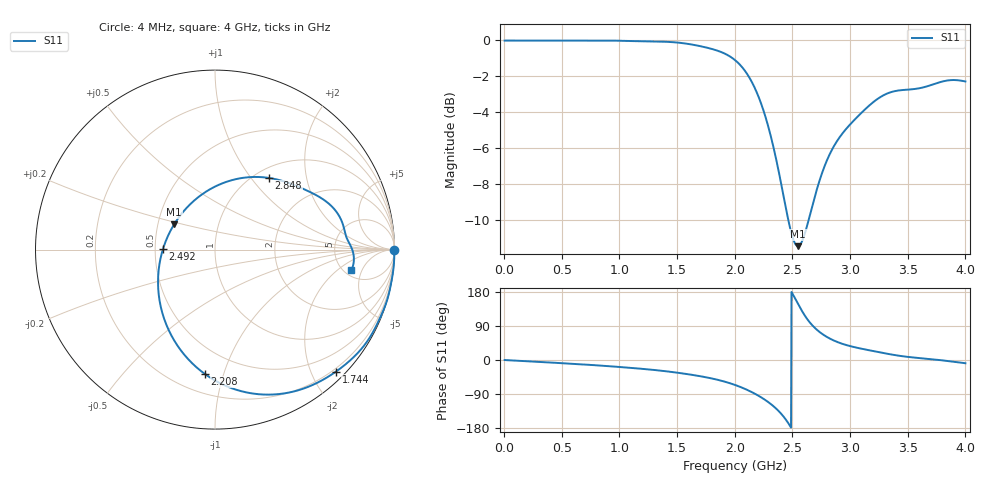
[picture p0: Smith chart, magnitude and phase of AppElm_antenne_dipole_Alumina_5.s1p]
! TOUCHSTONE file generated by CST MICROWAVE STUDIO
! Date and time: Sat May 14 11:42:14 2022
! Project name: AppElm_antenne_dipole_Alumina.cst
! Parameters = {L=31.35; e=0.035; f=2.45e+09; h=1.6; i=0.8; l1=2; lambda=122.449; ls=30; wl=1.7; ws=80}
! Header version: 2018
! Port assignment regex: !\s*Touchstone port\s*([0-9]+)\s*=\s*(CST MWS port|CST DS port)\s*([0-9]+|Zmin|Zmax)\s*\(\"(.*)\"\)(\s*mode\s*([0-9]+))?.*
! Touchstone port assignment:
! Touchstone port 1 = CST MWS port 1 ("")
# GHz S MA R 50
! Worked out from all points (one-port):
!   1000 points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, 4 MHz to 4 GHz, reference 50 ohm
!   lowest |S11| = -11.4 dB at 2.548 GHz (marker M1), VSWR 1.73, Z = 30.4 + j9.18 ohm
!   |S11| at or under -10 dB: 2.465 GHz to 2.64 GHz (175.7 MHz wide, 6.88 % of centre)
!   S11 on the Smith chart (normalised r, x): 4 MHz: open; 1.744 GHz: 0.15, -2.39; 2.208 GHz: 0.32, -0.87; 2.492 GHz: 0.55, +0.00; 2.848 GHz: 1.16, +1.23; 4 GHz: 5.80, -3.24
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0.004  0.9993 -0.1
0.504  0.9993 -8.5
1.004  0.9982 -18.5
1.304  0.9934 -26.4
1.504  0.9866 -33.6
1.744  0.9573 -45.2
1.884  0.9279 -54.7
2.004  0.8807 -66.0
2.112  0.8023 -79.5
2.16  0.7531 -86.7
2.208  0.6948 -94.7
2.28  0.5922 -108.8
2.36  0.4654 -128.6
2.424  0.3676 -149.7
2.492  0.2901 179.5
2.504  0.2816 173.1
2.548  0.2677 148.4
2.62  0.2994 111.5
2.688  0.3616 86.6
2.76  0.4304 68.4
2.848  0.5 53.0
2.92  0.5437 44.0
3.004  0.5856 36.4
3.28  0.7011 18.9
3.384  0.7223 13.2
3.504  0.7299 8.1
3.836  0.773 -2.3
4  0.7688 -8.5
